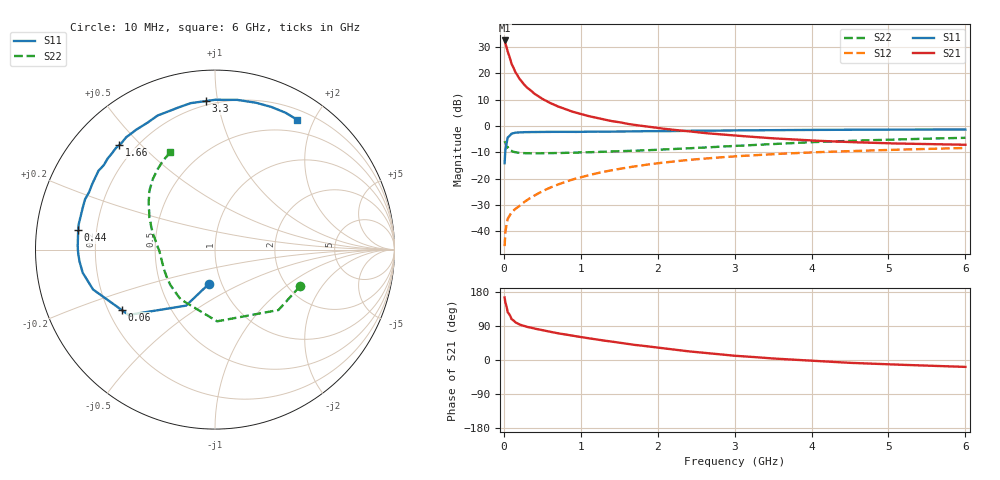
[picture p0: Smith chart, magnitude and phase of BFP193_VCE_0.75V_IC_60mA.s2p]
! Infineon Technologies  Discrete & RF Semiconductors
! BFP193
! VCE = 0.75V,  IC =  60 mA
! Common Emitter S-Parameters:  Jan 2016
# GHz  S  MA  R  50
!  f  S11  S21  S12  S22
! GHz  MAG  ANG  MAG  ANG  MAG  ANG  MAG  ANG
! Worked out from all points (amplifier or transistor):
!   210 points, 10 MHz to 6 GHz, reference 50 ohm
!   highest |S21| = 32.5 dB at 10 MHz (marker M1)
!   |S21| within 3 dB of that: start of sweep to 38.63 MHz
!   unconditionally stable (mu >= 1): start of sweep to 18.42 MHz; 198.6 MHz to end of sweep
!   at 185 MHz: K = 0.96, MSG = 24.8 dB, |S12| = -30.8 dB
!   at 1.52 GHz: K = 1.26, MAG = 5.7 dB, |S12| = -16.2 dB
!   at 6 GHz: K = 1.09, MAG = -1.2 dB, |S12| = -8.4 dB
!   S11 on the Smith chart (normalised r, x): 10 MHz: 0.87, -0.35; 60 MHz: 0.25, -0.28; 440 MHz: 0.13, +0.07; 1.66 GHz: 0.14, +0.43; 3.3 GHz: 0.17, +0.92; 6 GHz: 0.33, +1.77
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0.01  0.1963 -100.6  42.24 164.9  0.0052 66.4  0.5161 -23.2
0.02  0.3512 -117.3  38.15 151.2  0.0097 63.0  0.4882 -43.6
0.05  0.6035 -142.9  26.05 126.0  0.0172 49.1  0.3997 -88.3
0.06  0.6197 -147.2  23.76 123.7  0.0183 48.1  0.3761 -94.4
0.1  0.7149 -161.9  15.25 107.9  0.0227 44.9  0.3369 -124.8
0.15  0.7484 -170.1  10.57 99.4  0.0266 48.4  0.3175 -141.4
0.2  0.7579 -175.1  8.04 94.0  0.03 51.5  0.3089 -150.8
0.26  0.7638 -179.6  6.229 89.8  0.0354 55.5  0.3052 -158.0
0.3  0.7651 178.3  5.398 87.5  0.0389 57.1  0.3039 -161.0
0.4  0.7687 173.2  4.081 82.7  0.0478 60.0  0.3026 -166.7
0.44  0.7699 171.8  3.758 81.3  0.0516 61.1  0.3028 -168.2
0.5  0.7725 169.6  3.278 78.7  0.0573 62.4  0.3034 -170.4
0.7  0.7735 161.8  2.365 70.5  0.0768 62.9  0.3061 -175.2
1.02  0.7762 151.2  1.66 60.0  0.108 60.8  0.3145 179.4
1.3  0.778 142.7  1.33 51.3  0.1349 57.5  0.3226 175.6
1.66  0.7899 132.5  1.068 41.1  0.1671 52.7  0.3364 170.9
2.02  0.7992 122.9  0.909 32.2  0.1973 47.2  0.3548 166.0
3.1  0.8268 97.4  0.643 9.9  0.2701 31.2  0.4242 149.9
3.3  0.829 93.6  0.612 7.1  0.2809 28.4  0.4386 147.1
4.1  0.8435 80.2  0.522 -3.0  0.3191 17.8  0.4985 136.4
5.1  0.8545 67.4  0.465 -12.1  0.3538 6.2  0.5536 124.6
6  0.8563 57.8  0.44 -18.2  0.3821 -3.7  0.5963 114.7
